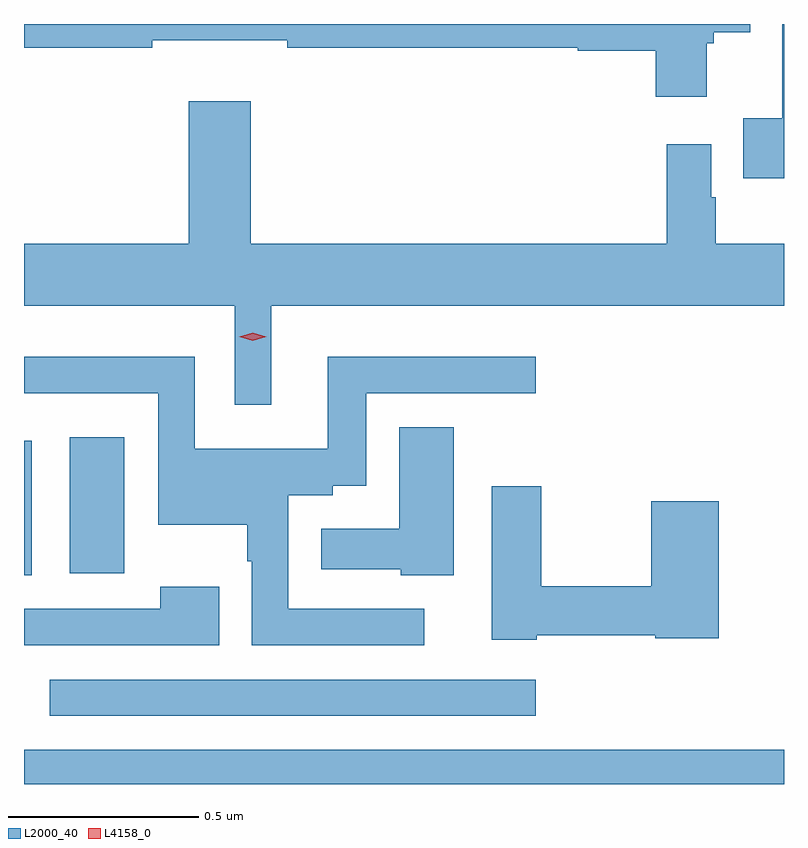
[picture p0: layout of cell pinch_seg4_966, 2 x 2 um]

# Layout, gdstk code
import gdstk
lib = gdstk.Library(unit=1e-6, precision=1e-09)
def R(c, l, rs):  # rectangles x0, y0, x1, y1
    for r in rs: c.add(gdstk.rectangle(r[:2], r[2:], *l))
def P(c, l, *ps):  # polygons
    for p in ps: c.add(gdstk.Polygon(p, *l))
L2000_40 = (2000, 40)
L4158_0 = (4158, 0)

pinch_seg4_966 = lib.new_cell('pinch_seg4_966')
R(pinch_seg4_966, L2000_40, [(668.071,766.258,670.071,766.348), (668.139,766.437,669.418,766.533), (668.071,766.808,668.092,767.161), (668.192,766.812,668.335,767.17)])
P(pinch_seg4_966, L2000_40, [(669.868,768.207),(669.886,768.207),(669.886,768.236),(669.982,768.236),(669.982,768.258),(668.071,768.258),(668.071,768.196),(668.408,768.196),(668.408,768.215),(668.764,768.215),(668.764,768.196),(669.528,768.196),(669.528,768.188),(669.734,768.188),(669.734,768.066),(669.868,768.066)],
  [(670.071,768.258),(670.067,768.258),(670.067,768.01),(669.964,768.01),(669.964,767.852),(670.071,767.852)],
  [(668.722,767.516),(670.071,767.516),(670.071,767.68),(669.892,767.68),(669.892,767.802),(669.879,767.802),(669.879,767.941),(669.763,767.941),(669.763,767.68),(668.668,767.68),(668.668,768.055),(668.504,768.055),(668.504,767.68),(668.071,767.68),(668.071,767.516),(668.625,767.516),(668.625,767.256),(668.722,767.256)],
  [(669.124,766.719),(668.766,766.719),(668.766,767.018),(668.883,767.018),(668.883,767.043),(668.971,767.043),(668.971,767.286),(669.418,767.286),(669.418,767.383),(668.87,767.383),(668.87,767.14),(668.52,767.14),(668.52,767.383),(668.071,767.383),(668.071,767.286),(668.424,767.286),(668.424,766.94),(668.658,766.94),(668.658,766.844),(668.67,766.844),(668.67,766.623),(669.124,766.623)],
  [(669.202,767.197),(669.059,767.197),(669.059,766.93),(668.853,766.93),(668.853,766.823),(669.063,766.823),(669.063,766.808),(669.202,766.808)],
  [(669.42,766.65),(669.732,766.65),(669.732,766.642),(669.899,766.642),(669.899,767.002),(669.721,767.002),(669.721,766.778),(669.432,766.778),(669.432,767.041),(669.302,767.041),(669.302,766.637),(669.42,766.637)],
  [(668.585,766.777),(668.429,766.777),(668.429,766.719),(668.071,766.719),(668.071,766.623),(668.585,766.623)])
P(pinch_seg4_966, L4158_0, [(668.673,767.425),(668.638,767.435),(668.638,767.435),(668.638,767.435),(668.673,767.445),(668.708,767.435),(668.708,767.435),(668.708,767.435)])

lib.write_gds('pinch_seg4_966.gds')
